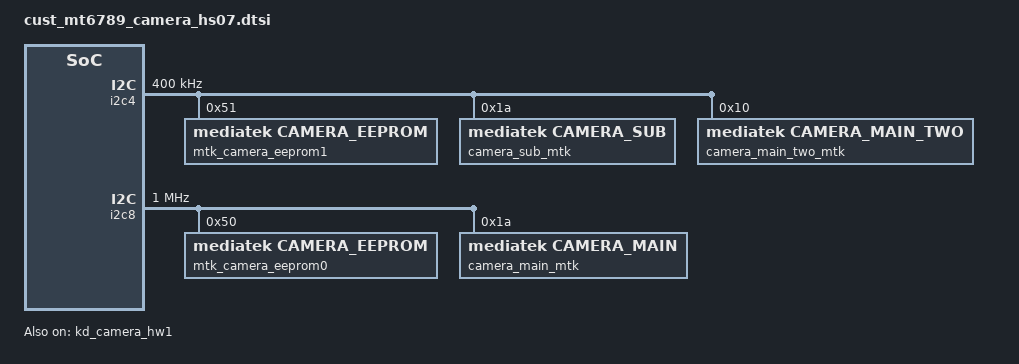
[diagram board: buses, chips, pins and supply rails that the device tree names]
// SPDX-License-Identifier: GPL-2.0
/* Copyright (c) 2020 MediaTek Inc. */
/* CAMERA GPIO standardization */
&pio {
	camera_pins_cam0_rst_0: cam0@0 {
		pins_cmd_dat {
			pinmux = <PINMUX_GPIO18__FUNC_GPIO18>;
			slew-rate = <1>;
			output-low;
		};
	};
	camera_pins_cam0_rst_1: cam0@1 {
		pins_cmd_dat {
			pinmux = <PINMUX_GPIO18__FUNC_GPIO18>;
			slew-rate = <1>;
			output-high;
		};
	};
	camera_pins_cam1_rst_0: cam1@0 {
		pins_cmd_dat {
			pinmux = <PINMUX_GPIO16__FUNC_GPIO16>;
			slew-rate = <1>;
			output-low;
		};
	};
	camera_pins_cam1_rst_1: cam1@1 {
		pins_cmd_dat {
			pinmux = <PINMUX_GPIO16__FUNC_GPIO16>;
			slew-rate = <1>;
			output-high;
		};
	};
	camera_pins_cam2_rst_0: cam2@0 {
		pins_cmd_dat {
			pinmux = <PINMUX_GPIO20__FUNC_GPIO20>;
			slew-rate = <1>;
			output-low;
		};
	};
	camera_pins_cam2_rst_1: cam2@1 {
		pins_cmd_dat {
			pinmux = <PINMUX_GPIO20__FUNC_GPIO20>;
			slew-rate = <1>;
			output-high;
		};
	};
	camera_pins_cam0_mclk_off: camera_pins_cam0_mclk_off {
		pins_cmd_dat {
			pinmux = <PINMUX_GPIO127__FUNC_GPIO127>;
			drive-strength = <1>;
		};
	};
	camera_pins_cam0_mclk_2ma: camera_pins_cam0_mclk_2ma {
		pins_cmd_dat {
			pinmux = <PINMUX_GPIO127__FUNC_CMMCLK1>;
			drive-strength = <0>;
		};
	};
	camera_pins_cam0_mclk_4ma: camera_pins_cam0_mclk_4ma {
		pins_cmd_dat {
			pinmux = <PINMUX_GPIO127__FUNC_CMMCLK1>;
			drive-strength = <1>;
		};
	};
	camera_pins_cam0_mclk_6ma: camera_pins_cam0_mclk_6ma {
		pins_cmd_dat {
			pinmux = <PINMUX_GPIO127__FUNC_CMMCLK1>;
			drive-strength = <2>;
		};
	};
	camera_pins_cam0_mclk_8ma: camera_pins_cam0_mclk_8ma {
		pins_cmd_dat {
			pinmux = <PINMUX_GPIO127__FUNC_CMMCLK1>;
			drive-strength = <3>;
		};
	};
	camera_pins_cam1_mclk_off: camera_pins_cam1_mclk_off {
		pins_cmd_dat {
			pinmux = <PINMUX_GPIO126__FUNC_GPIO126>;
			drive-strength = <1>;
		};
	};
	camera_pins_cam1_mclk_2ma: camera_pins_cam1_mclk_2ma {
		pins_cmd_dat {
			pinmux = <PINMUX_GPIO126__FUNC_CMMCLK0>;
			drive-strength = <0>;
		};
	};
	camera_pins_cam1_mclk_4ma: camera_pins_cam1_mclk_4ma {
		pins_cmd_dat {
			pinmux = <PINMUX_GPIO126__FUNC_CMMCLK0>;
			drive-strength = <1>;
		};
	};
	camera_pins_cam1_mclk_6ma: camera_pins_cam1_mclk_6ma {
		pins_cmd_dat {
			pinmux = <PINMUX_GPIO126__FUNC_CMMCLK0>;
			drive-strength = <2>;
		};
	};
	camera_pins_cam1_mclk_8ma: camera_pins_cam1_mclk_8ma {
		pins_cmd_dat {
			pinmux = <PINMUX_GPIO126__FUNC_CMMCLK0>;
			drive-strength = <3>;
		};
	};
	camera_pins_cam2_mclk_off: camera_pins_cam2_mclk_off {
		pins_cmd_dat {
			pinmux = <PINMUX_GPIO128__FUNC_GPIO128>;
			drive-strength = <1>;
		};
	};
	camera_pins_cam2_mclk_2ma: camera_pins_cam2_mclk_2ma {
		pins_cmd_dat {
			pinmux = <PINMUX_GPIO128__FUNC_CMMCLK2>;
			drive-strength = <0>;
		};
	};
	camera_pins_cam2_mclk_4ma: camera_pins_cam2_mclk_4ma {
		pins_cmd_dat {
			pinmux = <PINMUX_GPIO128__FUNC_CMMCLK2>;
			drive-strength = <1>;
		};
	};
	camera_pins_cam2_mclk_6ma: camera_pins_cam2_mclk_6ma {
		pins_cmd_dat {
			pinmux = <PINMUX_GPIO128__FUNC_CMMCLK2>;
			drive-strength = <2>;
		};
	};
	camera_pins_cam2_mclk_8ma: camera_pins_cam2_mclk_8ma {
		pins_cmd_dat {
			pinmux = <PINMUX_GPIO128__FUNC_CMMCLK2>;
			drive-strength = <3>;
		};
	};
	camera_pins_cam0_vcamd_0: cam0@vcam0 {
		pins_cmd_dat {
			pinmux = <PINMUX_GPIO19__FUNC_GPIO19>;
			slew-rate = <1>;
			output-low;
		};
	};
	camera_pins_cam0_vcamd_1: cam0@vcam1 {
		pins_cmd_dat {
			pinmux = <PINMUX_GPIO19__FUNC_GPIO19>;
			slew-rate = <1>;
			output-high;
		};
	};
	camera_pins_cam0_vcama_0: cam0@vcam2 {
		pins_cmd_dat {
			pinmux = <PINMUX_GPIO135__FUNC_GPIO135>;
			slew-rate = <1>;
			output-low;
		};
	};
	camera_pins_cam0_vcama_1: cam0@vcam3 {
		pins_cmd_dat {
			pinmux = <PINMUX_GPIO135__FUNC_GPIO135>;
			slew-rate = <1>;
			output-high;
		};
	};
	camera_pins_cam0_vcamio_0: cam0@vcam4 {
		pins_cmd_dat {
			pinmux = <PINMUX_GPIO10__FUNC_GPIO10>;
			slew-rate = <1>;
			output-low;
		};
	};
	camera_pins_cam0_vcamio_1: cam0@vcam5 {
		pins_cmd_dat {
			pinmux = <PINMUX_GPIO10__FUNC_GPIO10>;
			slew-rate = <1>;
			output-high;
		};
	};

	camera0_dvdd_sel_1ow: camera0_dvdd_sel_1ow@gpio37 {
		pins_cmd_dat {
			pinmux = <PINMUX_GPIO37__FUNC_GPIO37>;
			slew-rate = <1>;
			output-low;
		};
	};
	camera0_dvdd_sel_float: camera0_dvdd_sel_float@gpio37 {
		pins_cmd_dat {
			pinmux = <PINMUX_GPIO37__FUNC_GPIO37>;
			bias-disable;
			slew-rate = <0>;
		};
	};


    camera_pins_cam1_vcamd_0: cam1@vcam0 {
		pins_cmd_dat {
			pinmux = <PINMUX_GPIO65__FUNC_GPIO65>;
			slew-rate = <1>;
			output-low;
		};
	};
	camera_pins_cam1_vcamd_1: cam1@vcam1 {
		pins_cmd_dat {
			pinmux = <PINMUX_GPIO65__FUNC_GPIO65>;
			slew-rate = <1>;
			output-high;
		};
	};
	camera_pins_cam1_vcama_0: cam1@vcam2 {
		pins_cmd_dat {
			pinmux = <PINMUX_GPIO134__FUNC_GPIO134>;
			slew-rate = <1>;
			output-low;
		};
	};
	camera_pins_cam1_vcama_1: cam1@vcam3 {
		pins_cmd_dat {
			pinmux = <PINMUX_GPIO134__FUNC_GPIO134>;
			slew-rate = <1>;
			output-high;
		};
	};
	camera_pins_cam1_vcamio_0: cam1@vcam4 {
		pins_cmd_dat {
			pinmux = <PINMUX_GPIO10__FUNC_GPIO10>;
			slew-rate = <1>;
			output-low;
		};
	};
	camera_pins_cam1_vcamio_1: cam1@vcam5 {
		pins_cmd_dat {
			pinmux = <PINMUX_GPIO10__FUNC_GPIO10>;
			slew-rate = <1>;
			output-high;
		};
	};
	camera_pins_cam2_vcama_0: cam2@vcam0 {
		pins_cmd_dat {
			pinmux = <PINMUX_GPIO134__FUNC_GPIO134>;
			slew-rate = <1>;
			output-low;
		};
	};
	camera_pins_cam2_vcama_1: cam2@vcam1 {
		pins_cmd_dat {
			pinmux = <PINMUX_GPIO134__FUNC_GPIO134>;
			slew-rate = <1>;
			output-high;
		};
	};
	camera_pins_cam2_vcamio_0: cam2@vcam2 {
		pins_cmd_dat {
			pinmux = <PINMUX_GPIO10__FUNC_GPIO10>;
			slew-rate = <1>;
			output-low;
		};
	};
	camera_pins_cam2_vcamio_1: cam2@vcam3 {
		pins_cmd_dat {
			pinmux = <PINMUX_GPIO10__FUNC_GPIO10>;
			slew-rate = <1>;
			output-high;
		};
	};
	/* Hs07 code  for HS07-260 by zhangpengfei at 20250409start */
	camera_pins_cam1_vcama1_0: cam1@vcam6 {
		pins_cmd_dat {
			pinmux = <PINMUX_GPIO135__FUNC_GPIO135>;
			slew-rate = <1>;
			output-low;
		};
	};
	camera_pins_cam1_vcama1_1: cam1@vcam7 {
		pins_cmd_dat {
			pinmux = <PINMUX_GPIO135__FUNC_GPIO135>;
			slew-rate = <1>;
			output-high;
		};
	};
	camera_pins_cam2_vcama1_0: cam2@vcam4 {
		pins_cmd_dat {
			pinmux = <PINMUX_GPIO135__FUNC_GPIO135>;
			slew-rate = <1>;
			output-low;
		};
	};
	camera_pins_cam2_vcama1_1: cam2@vcam5 {
		pins_cmd_dat {
			pinmux = <PINMUX_GPIO135__FUNC_GPIO135>;
			slew-rate = <1>;
			output-high;
		};
	};
	/* Hs07 code  for HS07-260 by zhangpengfei at 20250409end */
	camera_pins_default: camdefault {
	};
};


&kd_camera_hw1 {
	pinctrl-names = "default",
			"cam0_rst0", "cam0_rst1",
			"cam1_rst0", "cam1_rst1",
			"cam2_rst0", "cam2_rst1",
			"cam0_mclk_off",
			"cam0_mclk_2mA", "cam0_mclk_4mA",
			"cam0_mclk_6mA", "cam0_mclk_8mA",
			"cam1_mclk_off",
			"cam1_mclk_2mA", "cam1_mclk_4mA",
			"cam1_mclk_6mA", "cam1_mclk_8mA",
			"cam2_mclk_off",
			"cam2_mclk_2mA", "cam2_mclk_4mA",
			"cam2_mclk_6mA", "cam2_mclk_8mA",
			"cam0_ldo_vcamd_0", "cam0_ldo_vcamd_1",
			"cam0_ldo_vcama_0", "cam0_ldo_vcama_1",
			"cam0_ldo_vcamio_0", "cam0_ldo_vcamio_1",
            "cam1_ldo_vcamd_0", "cam1_ldo_vcamd_1",
			"cam1_ldo_vcama_0", "cam1_ldo_vcama_1",
			"cam1_ldo_vcamio_0", "cam1_ldo_vcamio_1",
			"cam2_ldo_vcama_0", "cam2_ldo_vcama_1",
			"cam2_ldo_vcamio_0", "cam2_ldo_vcamio_1",
			"cam0_pnd0", "cam0_pnd1",
			/* Hs07 code  for HS07-260 by zhangpengfei at 20250409start */
			"cam1_ldo_vcama1_0", "cam1_ldo_vcama1_1",
			"cam2_ldo_vcama1_0", "cam2_ldo_vcama1_1";
			/* Hs07 code  for HS07-260 by zhangpengfei at 20250409end */

	pinctrl-0 = <&camera_pins_default>;
	pinctrl-1 = <&camera_pins_cam0_rst_0>;
	pinctrl-2 = <&camera_pins_cam0_rst_1>;
	pinctrl-3 = <&camera_pins_cam1_rst_0>;
	pinctrl-4 = <&camera_pins_cam1_rst_1>;
	pinctrl-5 = <&camera_pins_cam2_rst_0>;
	pinctrl-6 = <&camera_pins_cam2_rst_1>;
	pinctrl-7 = <&camera_pins_cam0_mclk_off>;
	pinctrl-8 = <&camera_pins_cam0_mclk_2ma>;
	pinctrl-9 = <&camera_pins_cam0_mclk_4ma>;
	pinctrl-10 = <&camera_pins_cam0_mclk_6ma>;
	pinctrl-11 = <&camera_pins_cam0_mclk_8ma>;
	pinctrl-12 = <&camera_pins_cam1_mclk_off>;
	pinctrl-13 = <&camera_pins_cam1_mclk_2ma>;
	pinctrl-14 = <&camera_pins_cam1_mclk_4ma>;
	pinctrl-15 = <&camera_pins_cam1_mclk_6ma>;
	pinctrl-16 = <&camera_pins_cam1_mclk_8ma>;
	pinctrl-17 = <&camera_pins_cam2_mclk_off>;
	pinctrl-18 = <&camera_pins_cam2_mclk_2ma>;
	pinctrl-19 = <&camera_pins_cam2_mclk_4ma>;
	pinctrl-20 = <&camera_pins_cam2_mclk_6ma>;
	pinctrl-21 = <&camera_pins_cam2_mclk_8ma>;
	pinctrl-22 = <&camera_pins_cam0_vcamd_0>;
	pinctrl-23 = <&camera_pins_cam0_vcamd_1>;
	pinctrl-24 = <&camera_pins_cam0_vcama_0>;
	pinctrl-25 = <&camera_pins_cam0_vcama_1>;
	pinctrl-26 = <&camera_pins_cam0_vcamio_0>;
	pinctrl-27 = <&camera_pins_cam0_vcamio_1>;
	pinctrl-28 = <&camera_pins_cam1_vcamd_0>;
    pinctrl-29 = <&camera_pins_cam1_vcamd_1>;
	pinctrl-30 = <&camera_pins_cam1_vcama_0>;
	pinctrl-31 = <&camera_pins_cam1_vcama_1>;
	pinctrl-32 = <&camera_pins_cam1_vcamio_0>;
	pinctrl-33 = <&camera_pins_cam1_vcamio_1>;
	pinctrl-34 = <&camera_pins_cam2_vcama_0>;
	pinctrl-35 = <&camera_pins_cam2_vcama_1>;
	pinctrl-36 = <&camera_pins_cam2_vcamio_0>;
	pinctrl-37 = <&camera_pins_cam2_vcamio_1>;
	pinctrl-38 = <&camera0_dvdd_sel_1ow>;	/* used for rear cam dvdd select 1.2V */
	pinctrl-39 = <&camera0_dvdd_sel_float>;	/* used for rear cam dvdd select 1.1V */
	/* Hs07 code  for HS07-260 by zhangpengfei at 20250409start */
	pinctrl-40 = <&camera_pins_cam1_vcama1_0>;
	pinctrl-41 = <&camera_pins_cam1_vcama1_1>;
	pinctrl-42 = <&camera_pins_cam2_vcama1_0>;
	pinctrl-43 = <&camera_pins_cam2_vcama1_1>;
	/* Hs07 code  for HS07-260 by zhangpengfei at 20250409end */

	cam0_vcamaf-supply = <&mt6358_vio28_reg>;

	cam0_enable_sensor = "a0701txdbacks5kjn1_mipi_raw a0702txdbackgc50e1_mipi_raw a0703xlbackgc50e1_mipi_raw a0704xlbacks5kjn1_mipi_raw a0705lybackgc50e1_mipi_raw";
	cam1_enable_sensor = "a0701cxtfrontgc08a8_mipi_raw a0702lyfrontmt815_mipi_raw a0703ddfrontsc820cs_mipi_raw";
	cam2_enable_sensor = "a0701cxtdepthsc201cs_mipi_raw a0702wxdepthov02f_mipi_raw";

	cam0_pin_mclk = "mclk";
	cam0_pin_rst = "gpio";
	cam0_pin_vcama = "gpio";
	cam0_pin_vcamio = "gpio";
	cam0_pin_vcamd = "gpio";
	cam1_pin_mclk = "mclk";
	cam1_pin_rst = "gpio";
	cam0_pin_vcamaf = "regulator";
	cam1_pin_vcama = "gpio";
	cam1_pin_vcamio = "gpio";
	cam1_pin_vcamd = "gpio";
	cam2_pin_mclk = "mclk";
	cam2_pin_rst = "gpio";
	cam2_pin_vcama = "gpio";
	cam2_pin_vcamio = "gpio";
	/* Hs07 code  for HS07-260 by zhangpengfei at 20250409start */
	cam1_pin_vcama1 = "gpio";
	cam2_pin_vcama1 = "gpio";
	/* Hs07 code  for HS07-260 by zhangpengfei at 20250409end */
	status = "okay";
};

/* CAMERA GPIO end */

/* CAMERA EEPROM */
&i2c4 {
	status = "okay";
	clock-frequency = <400000>;
	#address-cells = <1>;
	#size-cells = <0>;

	mtk_camera_eeprom1:camera_eeprom1@51 {
		compatible = "mediatek,camera_eeprom";
		reg = <0x51>;
		status = "okay";
	};
	camera_sub_mtk:camera_sub@1a {
		compatible = "mediatek,camera_sub";
		#thermal-sensor-cells = <0>;
		reg = <0x1a>;
		status = "okay";
	};

	camera_main_two_mtk:camera_main_two@10 {
		compatible = "mediatek,camera_main_two";
		#thermal-sensor-cells = <0>;
		reg = <0x10>;
		status = "okay";
	};
};
&i2c8 {
	status = "okay";
	clock-frequency = <1000000>;
	#address-cells = <1>;
	#size-cells = <0>;

	mtk_camera_eeprom0:camera_eeprom0@50 {
		compatible = "mediatek,camera_eeprom";
		reg = <0x50>;
		status = "okay";
	};
	camera_main_mtk:camera_main@1a {
		compatible = "mediatek,camera_main";
		#thermal-sensor-cells = <0>;
		reg = <0x1a>;
		status = "okay";
	};
};
/* CAMERA EEPROM end */

/* CAMERA TZ config */
&thermal_zones {
	camera_main: camera_main {
		polling-delay = <1000>; /* milliseconds */
		polling-delay-passive = <0>; /* milliseconds */
		thermal-sensors = <&camera_main_mtk>;
	};
	camera_sub: camera_sub {
		polling-delay = <1000>; /* milliseconds */
		polling-delay-passive = <0>; /* milliseconds */
		thermal-sensors = <&camera_sub_mtk>;
	};
	camera_main_two: camera_main_two {
		polling-delay = <1000>; /* milliseconds */
		polling-delay-passive = <0>; /* milliseconds */
		thermal-sensors = <&camera_main_two_mtk>;
	};
};
/* CAMERA TZ config end */
/* HS07 V code for HS07-19  by zhongbin at 2025/02/28 start */
&flashlights_sgm3785_gpio {
	pinctrl-names = "flashlight_default", "flashlight_enm_gpio_low", "flashlight_enm_gpio_high", "flashlight_enm_pwm_low", "flashlight_enm_pwm_high",
	"flashlight_enf_gpio_low","flashlight_enf_gpio_high";
	pinctrl-0 = <&flashlight_pins_default>;
	pinctrl-1 = <&flashlight_pins_enm_gpio_low>;
	pinctrl-2 = <&flashlight_pins_enm_gpio_high>;
	pinctrl-3 = <&flashlight_pins_enm_pwm_low>;
	pinctrl-4 = <&flashlight_pins_enm_pwm_high>;
	pinctrl-5 = <&flashlight_pins_enf_gpio_low>;
	pinctrl-6 = <&flashlight_pins_enf_gpio_high>;
	status = "okay";
};

&pio {
	flashlight_pins_default: flashlight_default {
	};
	/*torch_en*/
	flashlight_pins_enm_gpio_low: enm_gpio@0 {
	    pins_cmd_dat {
			pinmux = <PINMUX_GPIO159__FUNC_GPIO159>;/*GPIO_FL_ENM_PIN*/
			slew-rate = <1>; /*direction 0:in, 1:out*/
			output-low;/*direction out used only. output_low or high*/
		};
	};

	flashlight_pins_enm_gpio_high: enm_gpio@1 {
	    pins_cmd_dat {
			pinmux = <PINMUX_GPIO159__FUNC_GPIO159>;/*GPIO_DISP_ENN_PIN*/
			slew-rate = <1>; /*direction 0:in, 1:out*/
			output-high;/*direction out used only. output_low or high*/
		};
	};
	/* HS07 V code for HS07-19  by zhongbin at 2025/03/11 start */
	flashlight_pins_enm_pwm_low: enm_pwm@0 {
	    pins_cmd_dat {
			pinmux = <PINMUX_GPIO159__FUNC_PWM_2>;/*GPIO_DISP_ENP_PIN*/
			slew-rate = <1>;
			bias-disable;
		};
	};
	flashlight_pins_enm_pwm_high: enm_pwm@1 {
	    pins_cmd_dat {
			pinmux = <PINMUX_GPIO159__FUNC_PWM_2>;/*GPIO_DISP_ENP_PIN*/
			slew-rate = <1>;
			bias-disable;
		};
	};
    /* HS07 V code for HS07-19  by zhongbin at 2025/03/11 end */
	/*flash*/
	flashlight_pins_enf_gpio_low: enf_gpio@0 {
	    pins_cmd_dat {
			pinmux = <PINMUX_GPIO158__FUNC_GPIO158>;/*GPIO_DISP_ENP_PIN*/
			slew-rate = <1>;
			output-low;
		};
	};
	flashlight_pins_enf_gpio_high: enf_gpio@1 {
	    pins_cmd_dat {
			pinmux = <PINMUX_GPIO158__FUNC_GPIO158>;/*GPIO_DISP_ENP_PIN*/
			slew-rate = <1>;
			output-high;
		};
	};
};
/* HS07 V code for HS07-19  by zhongbin at 2025/02/28 end */
